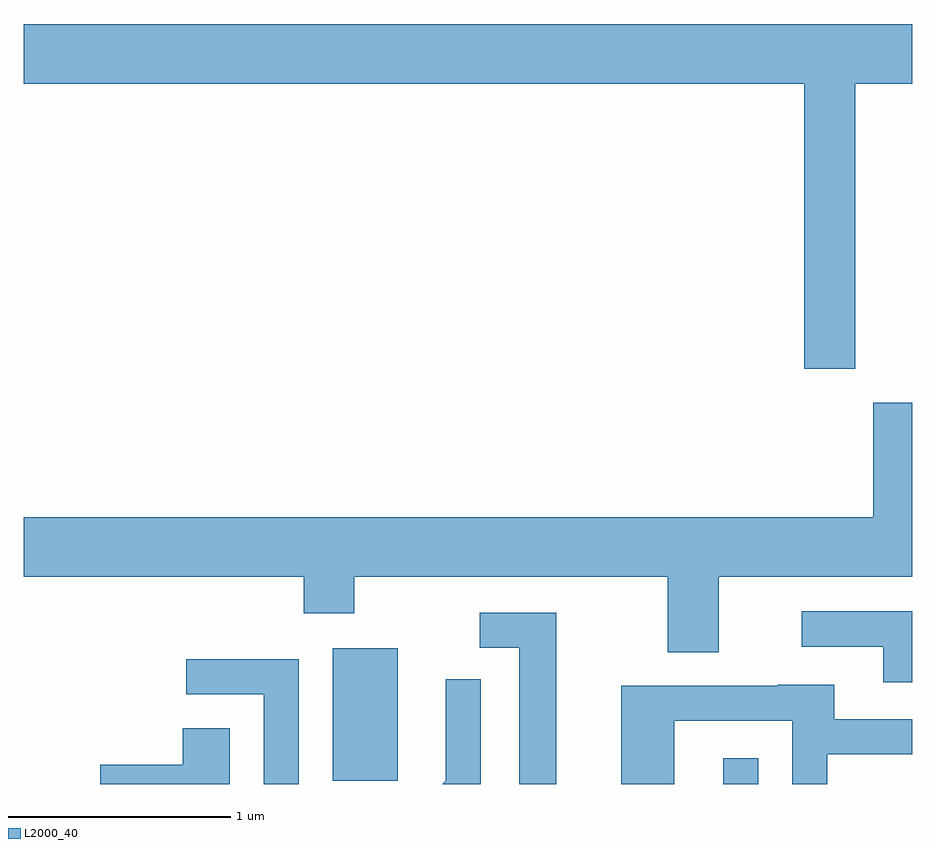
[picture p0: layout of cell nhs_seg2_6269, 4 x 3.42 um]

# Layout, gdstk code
import gdstk
lib = gdstk.Library(unit=1e-6, precision=1e-09)
def R(c, l, rs):  # rectangles x0, y0, x1, y1
    for r in rs: c.add(gdstk.rectangle(r[:2], r[2:], *l))
def P(c, l, *ps):  # polygons
    for p in ps: c.add(gdstk.Polygon(p, *l))
L2000_40 = (2000, 40)

nhs_seg2_6269 = lib.new_cell('nhs_seg2_6269')
R(nhs_seg2_6269, L2000_40, [(372.761,1071.802,372.919,1071.918), (371.001,1071.816,371.294,1072.414)])
P(nhs_seg2_6269, L2000_40, [(373.354,1074.956),(373.611,1074.956),(373.611,1075.224),(369.611,1075.224),(369.611,1074.956),(373.126,1074.956),(373.126,1073.671),(373.354,1073.671)],
  [(372.739,1072.736),(373.611,1072.736),(373.611,1073.519),(373.436,1073.519),(373.436,1073.004),(369.611,1073.004),(369.611,1072.736),(370.871,1072.736),(370.871,1072.571),(371.099,1072.571),(371.099,1072.736),(372.511,1072.736),(372.511,1072.396),(372.739,1072.396)],
  [(373.611,1072.579),(373.113,1072.579),(373.113,1072.421),(373.481,1072.421),(373.481,1072.261),(373.611,1072.261)],
  [(372.009,1072.574),(371.663,1072.574),(371.663,1072.416),(371.841,1072.416),(371.841,1071.802),(372.009,1071.802)],
  [(370.849,1072.364),(370.343,1072.364),(370.343,1072.206),(370.691,1072.206),(370.691,1071.802),(370.849,1071.802)],
  [(371.669,1072.273),(371.511,1072.273),(371.511,1071.817),(371.496,1071.802),(371.669,1071.802)],
  [(372.539,1072.086),(373.071,1072.086),(373.071,1071.802),(373.229,1071.802),(373.229,1071.936),(373.611,1071.936),(373.611,1072.094),(373.259,1072.094),(373.259,1072.249),(373.005,1072.249),(373.005,1072.244),(372.301,1072.244),(372.301,1071.802),(372.539,1071.802)],
  [(370.539,1072.054),(370.326,1072.054),(370.326,1071.889),(369.956,1071.889),(369.956,1071.802),(370.539,1071.802)])

lib.write_gds('nhs_seg2_6269.gds')
